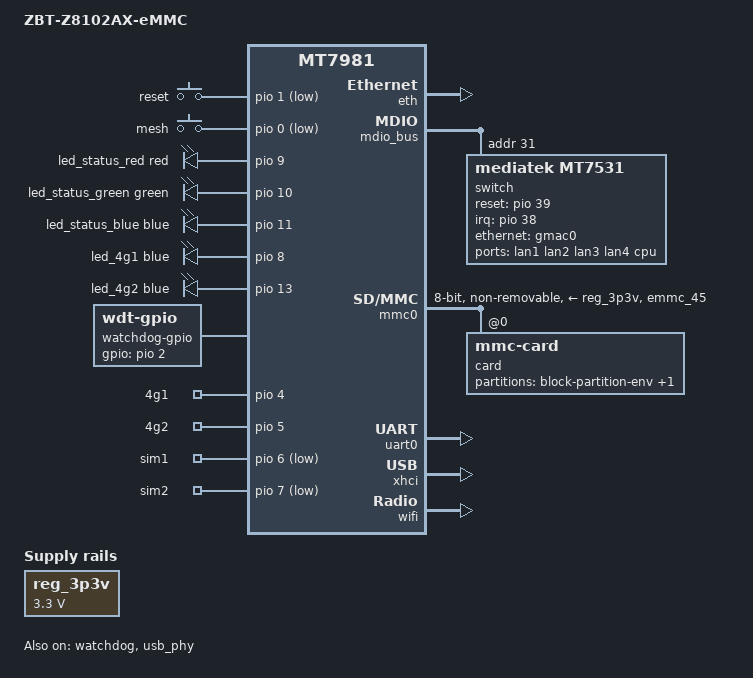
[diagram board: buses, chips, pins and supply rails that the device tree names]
// SPDX-License-Identifier: GPL-2.0-or-later OR MIT

/dts-v1/;
#include <dt-bindings/gpio/gpio.h>
#include <dt-bindings/input/input.h>

#include "mt7981.dtsi"

/ {
	model = "ZBT-Z8102AX-eMMC";
	compatible = "zbtlink,z8102ax-emmc", "mediatek,mt7981-emmc-rfb";

	aliases {
		serial0 = &uart0;
		led-boot = &led_status_red;
		led-failsafe = &led_status_red;
		led-running = &led_status_green;
		led-upgrade = &led_status_green;
		label-mac-device = &gmac0;
	};

	chosen {
		stdout-path = "serial0:115200n8";
		bootargs = "earlycon=uart8250,mmio32,0x11002000 console=ttyS0,115200n8";
	};

	gpio-keys {
		compatible = "gpio-keys";

		reset {
			label = "reset";
			linux,code = <KEY_RESTART>;
			gpios = <&pio 1 GPIO_ACTIVE_LOW>;
		};

		mesh {
			label = "mesh";
			linux,code = <KEY_WPS_BUTTON>;
			gpios = <&pio 0 GPIO_ACTIVE_LOW>;
		};
	};

	leds {
		compatible = "gpio-leds";

		led_status_red: red {
			gpios = <&pio 9 GPIO_ACTIVE_HIGH>;
			color = <LED_COLOR_ID_RED>;
			function = LED_FUNCTION_STATUS;
		};

		led_status_green: green {
			gpios = <&pio 10 GPIO_ACTIVE_HIGH>;
			color = <LED_COLOR_ID_GREEN>;
			function = LED_FUNCTION_STATUS;
		};

		led_status_blue: blue {
			gpios = <&pio 11 GPIO_ACTIVE_HIGH>;
			color = <LED_COLOR_ID_BLUE>;
			function = LED_FUNCTION_STATUS;
		};

		led_4g1: 4g1 {
			gpios = <&pio 8 GPIO_ACTIVE_HIGH>;
			color = <LED_COLOR_ID_BLUE>;
			function = LED_FUNCTION_WAN;
		};

		led_4g2: 4g2 {
			gpios = <&pio 13 GPIO_ACTIVE_HIGH>;
			color = <LED_COLOR_ID_BLUE>;
			function = LED_FUNCTION_WAN;
		};
	};

	/*
	 * Hardware GPIO watchdog on GPIO2
	 * The board has an external hardware watchdog that requires toggling GPIO2.
	 * hw_margin_ms is set to 250000ms (250 seconds) to provide enough time during boot.
	 * The watchdog daemon must be configured to toggle this GPIO regularly.
	 */
	watchdog-gpio {
		compatible = "linux,wdt-gpio";
		gpios = <&pio 2 GPIO_ACTIVE_HIGH>;
		hw_algo = "toggle";
		hw_margin_ms = <250000>;
		always-running;
	};

	gpio-export {
		compatible = "gpio-export";
		#size-cells = <0>;

		4g1 {
			gpio-export,name = "4g1";
			gpio-export,output = <1>;
			gpios = <&pio 4 GPIO_ACTIVE_HIGH>;
		};

		4g2 {
			gpio-export,name = "4g2";
			gpio-export,output = <1>;
			gpios = <&pio 5 GPIO_ACTIVE_HIGH>;
		};

		sim1 {
			gpio-export,name = "sim1";
			gpio-export,output = <0>;
			gpios = <&pio 6 GPIO_ACTIVE_LOW>;
		};

		sim2 {
			gpio-export,name = "sim2";
			gpio-export,output = <0>;
			gpios = <&pio 7 GPIO_ACTIVE_LOW>;
		};
	};

	reg_3p3v: regulator-3p3v {
		compatible = "regulator-fixed";
		regulator-name = "fixed-3.3V";
		regulator-min-microvolt = <3300000>;
		regulator-max-microvolt = <3300000>;
		regulator-boot-on;
		regulator-always-on;
	};
};

&eth {
	status = "okay";

	gmac0: mac@0 {
		compatible = "mediatek,eth-mac";
		reg = <0>;
		phy-mode = "2500base-x";

		fixed-link {
			speed = <2500>;
			full-duplex;
			pause;
		};
	};

	gmac1: mac@1 {
		compatible = "mediatek,eth-mac";
		reg = <1>;
		phy-mode = "gmii";
		phy-handle = <&int_gbe_phy>;
		nvmem-cell-names = "mac-address";
		nvmem-cells = <&macaddr_factory_02a>;
	};
};

&mdio_bus {
	switch: switch@1f {
		compatible = "mediatek,mt7531";
		reg = <31>;
		reset-gpios = <&pio 39 GPIO_ACTIVE_HIGH>;
		interrupt-controller;
		#interrupt-cells = <1>;
		interrupt-parent = <&pio>;
		interrupts = <38 IRQ_TYPE_LEVEL_HIGH>;
	};
};

&switch {
	ports {
		#address-cells = <1>;
		#size-cells = <0>;

		port@0 {
			reg = <0>;
			label = "lan1";
			nvmem-cell-names = "mac-address";
			nvmem-cells = <&macaddr_factory_004>;
		};

		port@1 {
			reg = <1>;
			label = "lan2";
			nvmem-cell-names = "mac-address";
			nvmem-cells = <&macaddr_factory_004>;
		};

		port@2 {
			reg = <2>;
			label = "lan3";
			nvmem-cell-names = "mac-address";
			nvmem-cells = <&macaddr_factory_004>;
		};

		port@3 {
			reg = <3>;
			label = "lan4";
			nvmem-cell-names = "mac-address";
			nvmem-cells = <&macaddr_factory_004>;
		};

		port@6 {
			reg = <6>;
			label = "cpu";
			ethernet = <&gmac0>;
			phy-mode = "2500base-x";

			fixed-link {
				speed = <2500>;
				full-duplex;
				pause;
			};
		};
	};
};

&mmc0 {
	pinctrl-names = "default", "state_uhs";
	pinctrl-0 = <&mmc0_pins_default>;
	pinctrl-1 = <&mmc0_pins_uhs>;
	status = "okay";
	bus-width = <8>;
	max-frequency = <52000000>;
	cap-mmc-highspeed;
	non-removable;
	vmmc-supply = <&reg_3p3v>;
	no-sd;
	no-sdio;

	card@0 {
		compatible = "mmc-card";
		reg = <0>;

		block {
			compatible = "block-device";
			partitions {
				block-partition-env {
					partname = "u-boot-env";

					nvmem-layout {
						compatible = "u-boot,env";
					};
				};

				emmc_factory: block-partition-factory {
					partname = "factory";

					nvmem-layout {
						compatible = "fixed-layout";
						#address-cells = <1>;
						#size-cells = <1>;

						eeprom_factory: eeprom@0 {
							reg = <0x0 0x1000>;
						};

						macaddr_factory_004: macaddr@4 {
							reg = <0x4 0x6>;
						};

						macaddr_factory_02a: macaddr@2a {
							reg = <0x2a 0x6>;
						};
					};
				};
			};
		};
	};
};

&pio {
	gpio-line-names =
		"mesh",		/* GPIO0 */
		"reset",	/* GPIO1 */
		"watchdog",	/* GPIO2 */
		"",		/* GPIO3 */
		"4g1_pwr",	/* GPIO4 */
		"4g2_pwr",	/* GPIO5 */
		"sim1",		/* GPIO6 */
		"sim2",		/* GPIO7 */
		"4g1_led",	/* GPIO8 */
		"red_led",	/* GPIO9 */
		"green_led",	/* GPIO10 */
		"blue_led",	/* GPIO11 */
		"",		/* GPIO12 */
		"4g2_led",	/* GPIO13 */
		"", "", "", "", "", "", "", "",	/* GPIO14-21 */
		"", "", "", "", "", "", "", "",	/* GPIO22-29 */
		"", "", "", "", "", "", "", "",	/* GPIO30-37 */
		"switch_irq",	/* GPIO38 */
		"switch_reset";	/* GPIO39 */

	mmc0_pins_default: mmc0-pins-default {
		mux {
			function = "flash";
			groups = "emmc_45";
		};
	};

	mmc0_pins_uhs: mmc0-pins-uhs {
		mux {
			function = "flash";
			groups = "emmc_45";
		};
	};
};

&uart0 {
	status = "okay";
};

&watchdog {
	status = "okay";
};

&usb_phy {
	status = "okay";
};

&xhci {
	status = "okay";
};

&wifi {
	status = "okay";
	nvmem-cells = <&eeprom_factory>;
	nvmem-cell-names = "eeprom";
};
